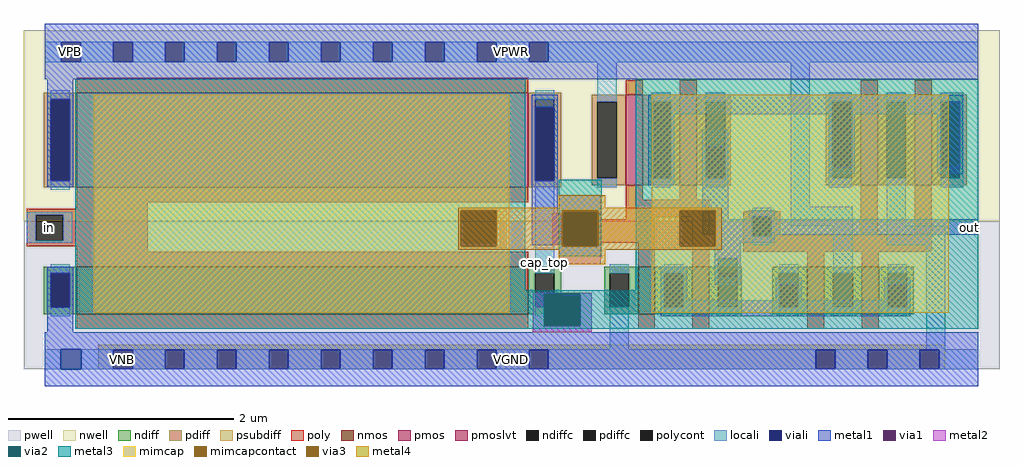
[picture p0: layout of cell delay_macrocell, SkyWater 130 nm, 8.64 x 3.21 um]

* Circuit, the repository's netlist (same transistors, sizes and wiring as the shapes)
* NGSPICE file created from delay_macrocell.ext - technology: sky130A

.subckt delay_macrocell VPWR in out VGND VNB VPB
X0 cap_top VGND sky130_fd_pr__cap_mim_m3_1 l=1.93e+06u w=3.68e+06u
X1 VGND out a_1058_308# VPB sky130_fd_pr__pfet_01v8 ad=2.64e+11p pd=2.26e+06u as=7.6e+11p ps=6.7e+06u w=800000u l=150000u
X2 a_1058_308# out VGND VPB sky130_fd_pr__pfet_01v8 ad=0p pd=0u as=0p ps=0u w=800000u l=150000u
X3 cap_top in VGND VNB sky130_fd_pr__nfet_01v8 ad=1.218e+11p pd=1.42e+06u as=2.478e+11p ps=2.86e+06u w=420000u l=4e+06u
X4 cap_top in VPWR VPB sky130_fd_pr__pfet_01v8_lvt ad=2.436e+11p pd=2.26e+06u as=4.836e+11p ps=4.46e+06u w=840000u l=4e+06u
X5 a_1080_80# cap_top VGND VNB sky130_fd_pr__nfet_01v8 ad=3.99e+11p pd=4.42e+06u as=0p ps=0u w=420000u l=150000u
X6 out cap_top a_1058_308# VPB sky130_fd_pr__pfet_01v8 ad=2.4e+11p pd=2.2e+06u as=0p ps=0u w=800000u l=150000u
X7 a_1058_308# cap_top VPWR VPB sky130_fd_pr__pfet_01v8 ad=0p pd=0u as=0p ps=0u w=800000u l=150000u
X8 VPWR out a_1080_80# VNB sky130_fd_pr__nfet_01v8 ad=1.386e+11p pd=1.5e+06u as=0p ps=0u w=420000u l=150000u
X9 cap_top VGND sky130_fd_pr__cap_mim_m3_1 l=1.93e+06u w=2.63e+06u
X10 out cap_top a_1080_80# VNB sky130_fd_pr__nfet_01v8 ad=1.218e+11p pd=1.42e+06u as=0p ps=0u w=420000u l=150000u
X11 a_1080_80# out VPWR VNB sky130_fd_pr__nfet_01v8 ad=0p pd=0u as=0p ps=0u w=420000u l=150000u
.ends

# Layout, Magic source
magic
tech sky130A
magscale 1 2
<< nwell >>
rect -38 244 1690 582
<< pwell >>
rect -38 -18 1690 244
<< nmos >>
rect 56 80 856 164
rect 1050 80 1080 164
rect 1146 80 1176 164
rect 1350 80 1380 164
rect 1446 80 1476 164
<< pmos >>
rect 1028 308 1058 468
rect 1124 308 1154 468
rect 1444 308 1474 468
rect 1540 308 1570 468
<< pmoslvt >>
rect 56 304 856 472
<< ndiff >>
rect -2 152 56 164
rect -2 92 10 152
rect 44 92 56 152
rect -2 80 56 92
rect 856 152 914 164
rect 856 92 868 152
rect 902 92 914 152
rect 856 80 914 92
rect 990 152 1050 164
rect 990 92 1000 152
rect 1034 92 1050 152
rect 990 80 1050 92
rect 1080 152 1146 164
rect 1080 92 1096 152
rect 1130 92 1146 152
rect 1080 80 1146 92
rect 1176 152 1234 164
rect 1176 92 1192 152
rect 1226 92 1234 152
rect 1176 80 1234 92
rect 1288 152 1350 164
rect 1288 92 1300 152
rect 1334 92 1350 152
rect 1288 80 1350 92
rect 1380 152 1446 164
rect 1380 92 1396 152
rect 1430 92 1446 152
rect 1380 80 1446 92
rect 1476 152 1538 164
rect 1476 92 1492 152
rect 1526 92 1538 152
rect 1476 80 1538 92
<< pdiff >>
rect -2 460 56 472
rect -2 316 10 460
rect 44 316 56 460
rect -2 304 56 316
rect 856 460 914 472
rect 856 316 868 460
rect 902 316 914 460
rect 856 304 914 316
rect 968 456 1028 468
rect 968 320 978 456
rect 1012 320 1028 456
rect 968 308 1028 320
rect 1058 456 1124 468
rect 1058 320 1074 456
rect 1108 320 1124 456
rect 1058 308 1124 320
rect 1154 456 1214 468
rect 1154 320 1170 456
rect 1204 320 1214 456
rect 1154 308 1214 320
rect 1382 456 1444 468
rect 1382 320 1394 456
rect 1428 320 1444 456
rect 1382 308 1444 320
rect 1474 456 1540 468
rect 1474 320 1490 456
rect 1524 320 1540 456
rect 1474 308 1540 320
rect 1570 456 1632 468
rect 1570 320 1586 456
rect 1620 320 1632 456
rect 1570 308 1632 320
<< ndiffc >>
rect 10 92 44 152
rect 868 92 902 152
rect 1000 92 1034 152
rect 1096 92 1130 152
rect 1192 92 1226 152
rect 1300 92 1334 152
rect 1396 92 1430 152
rect 1492 92 1526 152
<< pdiffc >>
rect 10 316 44 460
rect 868 316 902 460
rect 978 320 1012 456
rect 1074 320 1108 456
rect 1170 320 1204 456
rect 1394 320 1428 456
rect 1490 320 1524 456
rect 1586 320 1620 456
<< psubdiff >>
rect 94 -18 1594 26
<< poly >>
rect 56 472 856 498
rect 1028 468 1058 494
rect 1124 468 1154 494
rect 1444 468 1474 494
rect 1540 468 1570 494
rect 56 278 856 304
rect 1028 282 1058 308
rect 1124 282 1154 308
rect 56 266 182 278
rect -32 256 182 266
rect -32 210 -16 256
rect 32 210 182 256
rect -32 200 182 210
rect 898 248 986 258
rect 1028 252 1176 282
rect 1028 248 1080 252
rect 898 246 1080 248
rect 898 212 936 246
rect 970 212 1080 246
rect 898 206 1080 212
rect 898 202 986 206
rect 56 190 182 200
rect 56 164 856 190
rect 1050 164 1080 206
rect 1146 164 1176 252
rect 1236 252 1302 262
rect 1236 218 1252 252
rect 1286 220 1302 252
rect 1444 220 1474 308
rect 1540 220 1570 308
rect 1286 218 1570 220
rect 1236 190 1570 218
rect 1350 164 1380 190
rect 1446 164 1476 190
rect 56 54 856 80
rect 1050 54 1080 80
rect 1146 54 1176 80
rect 1350 54 1380 80
rect 1446 54 1476 80
<< polycont >>
rect -16 210 32 256
rect 936 212 970 246
rect 1252 218 1286 252
<< locali >>
rect 0 561 1652 562
rect 0 527 29 561
rect 63 527 121 561
rect 155 527 213 561
rect 247 527 305 561
rect 339 527 397 561
rect 431 527 489 561
rect 523 527 581 561
rect 615 527 673 561
rect 707 527 765 561
rect 799 527 857 561
rect 891 527 1652 561
rect 0 526 1652 527
rect 10 460 44 476
rect 10 300 44 316
rect 868 460 902 476
rect -32 256 48 260
rect -32 210 -16 256
rect 32 210 48 256
rect -32 206 48 210
rect 868 258 902 316
rect 978 456 1012 526
rect 978 304 1012 320
rect 1074 456 1108 472
rect 1074 304 1108 320
rect 1170 456 1204 472
rect 1170 304 1204 320
rect 1320 270 1354 526
rect 1388 456 1428 472
rect 1388 320 1394 456
rect 1388 304 1428 320
rect 1490 456 1524 472
rect 868 246 986 258
rect 868 212 914 246
rect 970 212 986 246
rect 868 202 986 212
rect 1252 252 1286 268
rect 1320 236 1430 270
rect 1252 202 1286 218
rect 10 152 44 168
rect 10 76 44 92
rect 868 152 902 202
rect 868 76 902 92
rect 1000 152 1034 168
rect 1000 18 1034 92
rect 1096 152 1130 168
rect 1096 76 1130 92
rect 1192 76 1226 92
rect 1300 152 1334 168
rect 1300 76 1334 92
rect 1396 152 1430 236
rect 1490 236 1524 320
rect 1586 456 1626 472
rect 1620 320 1626 456
rect 1586 304 1626 320
rect 1490 202 1594 236
rect 1396 76 1430 92
rect 1492 152 1526 168
rect 1492 76 1526 92
rect 1560 18 1594 202
rect 0 -18 28 18
rect 64 17 1652 18
rect 64 -17 121 17
rect 155 -17 213 17
rect 247 -17 305 17
rect 339 -17 397 17
rect 431 -17 489 17
rect 523 -17 581 17
rect 615 -17 673 17
rect 707 -17 765 17
rect 799 -17 857 17
rect 891 -17 1365 17
rect 1399 -17 1457 17
rect 1491 -17 1549 17
rect 1583 -17 1652 17
rect 64 -18 1652 -17
<< viali >>
rect 29 527 63 561
rect 121 527 155 561
rect 213 527 247 561
rect 305 527 339 561
rect 397 527 431 561
rect 489 527 523 561
rect 581 527 615 561
rect 673 527 707 561
rect 765 527 799 561
rect 857 527 891 561
rect 10 316 44 460
rect 868 316 902 446
rect 1074 320 1108 456
rect 1170 320 1204 376
rect 1394 340 1428 456
rect 914 212 936 246
rect 936 212 970 246
rect 1252 218 1286 252
rect 10 92 44 152
rect 1096 92 1130 152
rect 1192 152 1226 178
rect 1192 144 1226 152
rect 1300 92 1334 132
rect 1586 340 1620 456
rect 1492 92 1526 132
rect 28 -18 64 18
rect 121 -17 155 17
rect 213 -17 247 17
rect 305 -17 339 17
rect 397 -17 431 17
rect 489 -17 523 17
rect 581 -17 615 17
rect 673 -17 707 17
rect 765 -17 799 17
rect 857 -17 891 17
rect 1365 -17 1399 17
rect 1457 -17 1491 17
rect 1549 -17 1583 17
<< metal1 >>
rect 0 561 1652 594
rect 0 527 29 561
rect 63 527 121 561
rect 155 527 213 561
rect 247 527 305 561
rect 339 527 397 561
rect 431 527 489 561
rect 523 527 581 561
rect 615 527 673 561
rect 707 527 765 561
rect 799 527 857 561
rect 891 527 1652 561
rect 0 496 1652 527
rect 4 460 50 496
rect 4 316 10 460
rect 44 316 50 460
rect 4 304 50 316
rect 862 446 908 468
rect 862 316 868 446
rect 902 316 908 446
rect 862 258 908 316
rect 1068 456 1626 468
rect 1068 320 1074 456
rect 1108 434 1394 456
rect 1108 320 1114 434
rect 1068 308 1114 320
rect 1164 376 1210 406
rect 1164 320 1170 376
rect 1204 320 1210 376
rect 1388 340 1394 434
rect 1428 434 1586 456
rect 1428 340 1434 434
rect 1388 328 1434 340
rect 1580 340 1586 434
rect 1620 340 1626 456
rect 1580 328 1626 340
rect 862 256 986 258
rect 862 204 914 256
rect 970 204 986 256
rect 1164 248 1210 320
rect 1246 252 1292 264
rect 1246 248 1252 252
rect 1164 220 1252 248
rect 862 202 986 204
rect 1186 218 1252 220
rect 1286 248 1292 252
rect 1286 220 1652 248
rect 1286 218 1292 220
rect 1186 206 1292 218
rect 1186 178 1232 206
rect 4 152 50 164
rect 4 92 10 152
rect 44 92 50 152
rect 1090 152 1136 164
rect 4 48 50 92
rect 864 110 968 118
rect 864 58 884 110
rect 948 58 968 110
rect 1090 92 1096 152
rect 1130 104 1136 152
rect 1186 144 1192 178
rect 1226 144 1232 178
rect 1186 132 1232 144
rect 1294 132 1340 144
rect 1294 104 1300 132
rect 1130 92 1300 104
rect 1334 104 1340 132
rect 1486 132 1532 144
rect 1486 104 1492 132
rect 1334 92 1492 104
rect 1526 92 1532 132
rect 1090 76 1532 92
rect 864 48 968 58
rect 0 18 1652 48
rect 0 -18 28 18
rect 64 17 1652 18
rect 64 -17 121 17
rect 155 -17 213 17
rect 247 -17 305 17
rect 339 -17 397 17
rect 431 -17 489 17
rect 523 -17 581 17
rect 615 -17 673 17
rect 707 -17 765 17
rect 799 -17 857 17
rect 891 -17 1365 17
rect 1399 -17 1457 17
rect 1491 -17 1549 17
rect 1583 -17 1652 17
rect 64 -18 1652 -17
rect 0 -48 1652 -18
<< via1 >>
rect 914 246 970 256
rect 914 212 970 246
rect 914 204 970 212
rect 884 58 948 110
<< metal2 >>
rect 910 260 984 290
rect 910 258 920 260
rect 898 256 920 258
rect 898 204 914 256
rect 898 202 920 204
rect 976 202 984 260
rect 910 168 984 202
rect 864 116 968 118
rect 864 58 884 116
rect 948 58 968 116
rect 864 48 968 58
<< via2 >>
rect 920 256 976 260
rect 920 204 970 256
rect 970 204 976 256
rect 920 202 976 204
rect 884 110 948 116
rect 884 60 948 110
<< metal3 >>
rect 54 122 850 496
rect 910 264 986 318
rect 910 200 916 264
rect 980 200 986 264
rect 910 182 986 200
rect 1046 122 1652 496
rect 54 116 1652 122
rect 54 60 884 116
rect 948 60 1652 116
rect 54 54 1652 60
<< via3 >>
rect 916 260 980 264
rect 916 202 920 260
rect 920 202 976 260
rect 976 202 980 260
rect 916 200 980 202
<< mimcap >>
rect 86 264 822 468
rect 86 200 736 264
rect 800 200 822 264
rect 86 82 822 200
rect 1074 264 1600 468
rect 1074 200 1124 264
rect 1188 200 1600 264
rect 1074 82 1600 200
<< mimcapcontact >>
rect 736 200 800 264
rect 1124 200 1188 264
<< metal4 >>
rect 910 268 992 290
rect 732 264 1198 268
rect 732 200 736 264
rect 800 200 916 264
rect 980 200 1124 264
rect 1188 200 1198 264
rect 732 194 1198 200
rect 910 168 992 194
<< labels >>
rlabel locali -16 210 32 256 7 in
port 2 w
rlabel metal1 1622 220 1652 248 3 out
port 3 e
rlabel metal1 0 496 1652 594 7 VPWR
port 1 w
rlabel nwell 28 526 64 562 7 VPB
port 6 w
rlabel metal1 0 -48 1652 48 7 VGND
port 7 w
rlabel psubdiff 120 -18 156 18 7 VNB
port 8 w
rlabel locali 868 172 902 172 1 cap_top
<< end >>
